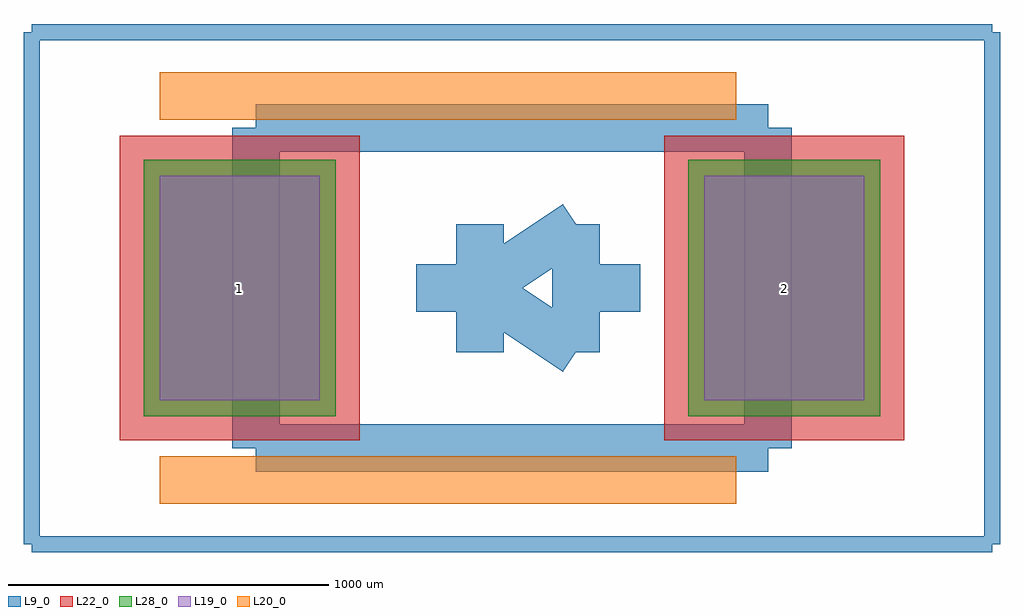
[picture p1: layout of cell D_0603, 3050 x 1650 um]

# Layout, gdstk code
import gdstk
lib = gdstk.Library(unit=1e-6, precision=1e-09)
def R(c, l, rs):  # rectangles x0, y0, x1, y1
    for r in rs: c.add(gdstk.rectangle(r[:2], r[2:], *l))
L9_0 = (9, 0)
L19_0 = (19, 0)
L20_0 = (20, 0)
L22_0 = (22, 0)
L28_0 = (28, 0)

d_0603 = lib.new_cell('D_0603')
R(d_0603, L19_0, [(-1100,-350,-600,350), (600,-350,1100,350)])
R(d_0603, L22_0, [(-1225,-475,-475,475), (475,-475,1225,475)])
R(d_0603, L28_0, [(-1150,-400,-550,400), (550,-400,1150,400)])
d_0603.add(gdstk.FlexPath([(-1100,600),(700,600)], 149.998, ends="flush", simple_path=True, layer=20, datatype=0))  # L20_0
d_0603.add(gdstk.FlexPath([(-1100,-600),(700,-600)], 149.998, ends="flush", simple_path=True, layer=20, datatype=0))  # L20_0
d_0603.add(gdstk.FlexPath([(-800,500),(800,500)], 149.998, ends="flush", simple_path=True, layer=9, datatype=0))  # L9_0
d_0603.add(gdstk.FlexPath([(800,500),(800,-500)], 149.998, ends="flush", simple_path=True, layer=9, datatype=0))  # L9_0
d_0603.add(gdstk.FlexPath([(800,-500),(-800,-500)], 149.998, ends="flush", simple_path=True, layer=9, datatype=0))  # L9_0
d_0603.add(gdstk.FlexPath([(-800,-500),(-800,500)], 149.998, ends="flush", simple_path=True, layer=9, datatype=0))  # L9_0
d_0603.add(gdstk.FlexPath([(200,200),(-100,0)], 149.998, ends="flush", simple_path=True, layer=9, datatype=0))  # L9_0
d_0603.add(gdstk.FlexPath([(-100,0),(200,-200)], 149.998, ends="flush", simple_path=True, layer=9, datatype=0))  # L9_0
d_0603.add(gdstk.FlexPath([(200,-200),(200,200)], 149.998, ends="flush", simple_path=True, layer=9, datatype=0))  # L9_0
d_0603.add(gdstk.FlexPath([(-100,200),(-100,-200)], 149.998, ends="flush", simple_path=True, layer=9, datatype=0))  # L9_0
d_0603.add(gdstk.FlexPath([(-100,0),(-300,0)], 149.998, ends="flush", simple_path=True, layer=9, datatype=0))  # L9_0
d_0603.add(gdstk.FlexPath([(200,0),(400,0)], 149.998, ends="flush", simple_path=True, layer=9, datatype=0))  # L9_0
d_0603.add(gdstk.FlexPath([(1500,800),(-1500,800)], 50, ends="flush", simple_path=True, layer=9, datatype=0))  # L9_0
d_0603.add(gdstk.FlexPath([(-1500,800),(-1500,-800)], 50, ends="flush", simple_path=True, layer=9, datatype=0))  # L9_0
d_0603.add(gdstk.FlexPath([(-1500,-800),(1500,-800)], 50, ends="flush", simple_path=True, layer=9, datatype=0))  # L9_0
d_0603.add(gdstk.FlexPath([(1500,-800),(1500,800)], 50, ends="flush", simple_path=True, layer=9, datatype=0))  # L9_0
d_0603.add(gdstk.Label('2', (850,0), layer=28, texttype=0))
d_0603.add(gdstk.Label('1', (-850,0), layer=28, texttype=0))
d_0603.add(gdstk.Label('type', (0,1500), layer=9, texttype=0))
d_0603.add(gdstk.Label('devicename', (0,-1500), layer=9, texttype=0))

lib.write_gds('D_0603.gds')
